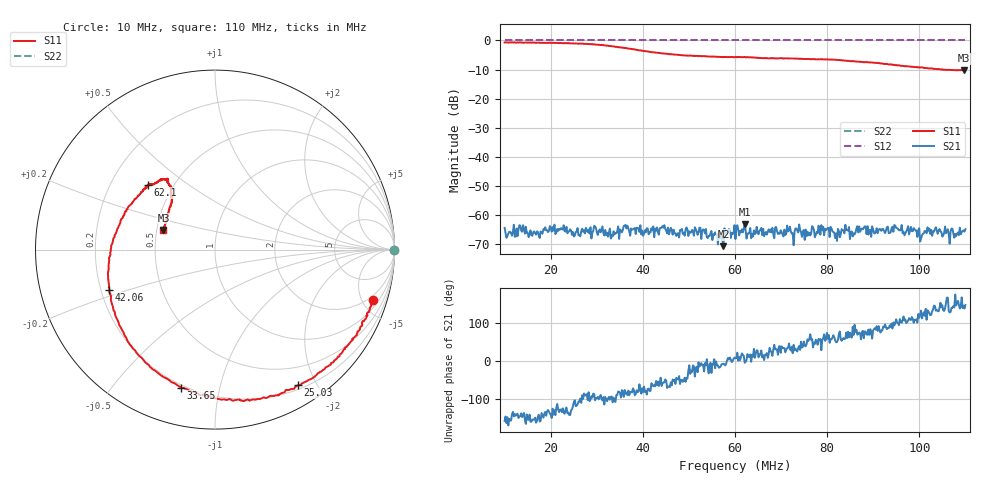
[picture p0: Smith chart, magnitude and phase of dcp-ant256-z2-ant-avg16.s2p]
! Anritsu VNA Master:  Model: MS2034B/10/19/501
! SN:  1337062
! /bd0/ovro-jan-2016/dcp-ant256-z2-ant-avg16.s2p
! Existing Calibration Information:
! TYPE:  Current Settings,  Active Cal Settings
! TIME:  01/12/2016 03:48:10 PM,  01/12/2016 03:37:40 PM
! INTERNAL TEMP:  41.0 C,  41.5 C
! # POINTS:  500,  500
! START FREQ:  10.000 MHz,  10.000 MHz
! STOP FREQ:  110.000 MHz,  110.000 MHz
! SOURCE POWER:  Low,  Low
! IFBW:  1 kHz,  1 kHz
! AVG FACTOR:  16 ,  4
! REF PLANE 1:  2.2245 m,  2.2245 m
! REF PLANE 2:  0 mm,  0 mm
! CAL TYPE:  Full S11,  Full S11
! CAL METHOD:  SOLT,  SOLT
! CAL LINE TYPE:  Coax,  Coax
! DUT PORT 1:  K-Conn(M),  K-Conn(M)
! DUT PORT 2:  N-Conn(M),  N-Conn(M)
! CAL STATUS:  OK: Accuracy High,  --
# GHZ S DB R 50.0
! FREQ.GHZ  S11DB  S11A  S21DB  S21A  S12DB  S12A  S22DB  S22A
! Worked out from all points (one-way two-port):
!   500 points, 10 MHz to 110 MHz, reference 50 ohm
!   highest |S21| = -63.13 dB at 62.1 MHz (marker M1); lowest = -70.7 dB at 57.49 MHz (marker M2)
!   lowest |S11| = -10.2 dB at 109.6 MHz (marker M3), VSWR 1.89, Z = 27.1 + j6.51 ohm
!   |S11| at or under -10 dB: 105.2 MHz to end of sweep
!   |S22| runs from 0.0 to 0.0 dB; largest |S21 - S12| = 1
!   S11 on the Smith chart (normalised r, x): 10 MHz: 1.61, -6.06; 25.03 MHz: 0.25, -1.75; 33.65 MHz: 0.19, -0.77; 42.06 MHz: 0.23, -0.17; 62.1 MHz: 0.36, +0.36; 110 MHz: 0.54, +0.13
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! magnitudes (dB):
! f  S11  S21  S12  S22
! 10 MHz  -0.7  -64.4  0.0  0.0
! 17.82 MHz  -0.8  -65.6  0.0  0.0
! 22.42 MHz  -0.9  -64.9  0.0  0.0
! 25.03 MHz  -1.1  -67.3  0.0  0.0
! 26.83 MHz  -1.1  -64.6  0.0  0.0
! 33.65 MHz  -2.0  -65.5  0.0  0.0
! 36.25 MHz  -2.6  -63.3  0.0  0.0
! 42.06 MHz  -4.0  -65.2  0.0  0.0
! 43.47 MHz  -4.3  -66.7  0.0  0.0
! 57.49 MHz  -5.7  -70.7  0.0  0.0
! 60.1 MHz  -5.7  -68.2  0.0  0.0
! 62.1 MHz  -5.7  -63.1  0.0  0.0
! 76.73 MHz  -6.4  -63.8  0.0  0.0
! 81.74 MHz  -6.6  -67.9  0.0  0.0
! 84.35 MHz  -7.0  -65.1  0.0  0.0
! 85.35 MHz  -7.1  -65.6  0.0  0.0
! 93.37 MHz  -8.2  -66.1  0.0  0.0
! 98.58 MHz  -9.1  -65.5  0.0  0.0
! 100.6 MHz  -9.3  -66.9  0.0  0.0
! 101.8 MHz  -9.5  -64.2  0.0  0.0
! 109.6 MHz  -10.2  -65.3  0.0  0.0
! 110 MHz  -10.2  -64.8  0.0  0.0
